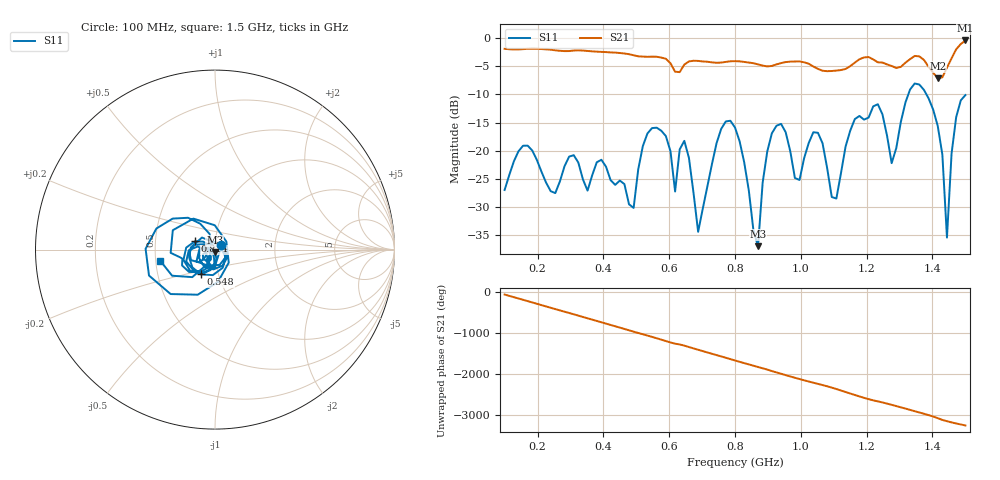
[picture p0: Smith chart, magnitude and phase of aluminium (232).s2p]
! NanoVNA-App
! Date: 2025-09-25 14:57:05
! Start: 100MHz Stop: 1,5GHz Points: 101
! S-Parameter data: F S11 S21 S12 S22
# Hz S RI R 50
!  Frequency  S11_Real  S11_Imag  S21_Real  S21_Imag  S12_Real  S12_Imag  S22_Real  S22_Imag
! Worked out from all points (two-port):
!   101 points, 100 MHz to 1.5 GHz, reference 50 ohm
!   highest |S21| = -0.43 dB at 1.5 GHz (marker M1); lowest = -7.2 dB at 1.416 GHz (marker M2)
!   |S21| within 3 dB of the highest: start of sweep to 572.6 MHz; 1.459 GHz to end of sweep (the widest 2 of 4)
!   lowest |S11| = -36.9 dB at 870 MHz (marker M3), VSWR 1.03, Z = 49.9 - j1.42 ohm
!   |S11| at or under -10 dB: start of sweep to 1.327 GHz; 1.382 GHz to end of sweep
!   S12 and S22 are empty: the file has one direction only
!   S11 on the Smith chart (normalised r, x): 100 MHz: 1.07, +0.06; 548 MHz: 0.82, -0.23; 814 MHz: 0.79, +0.07; 1.5 GHz: 0.53, -0.07
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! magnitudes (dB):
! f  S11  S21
! 100 MHz  -27.0  -1.9
! 338 MHz  -25.1  -2.2
! 492 MHz  -30.1  -3.1
! 548 MHz  -16.0  -3.3
! 576 MHz  -16.4  -3.5
! 618 MHz  -27.2  -6.0
! 646 MHz  -18.2  -4.7
! 688 MHz  -34.4  -4.1
! 800 MHz  -15.9  -4.1
! 814 MHz  -18.3  -4.1
! 870 MHz  -36.9  -4.7
! 912 MHz  -16.9  -5.0
! 996 MHz  -25.2  -4.2
! 1.038 GHz  -16.7  -5.1
! 1.094 GHz  -28.2  -5.9
! 1.22 GHz  -12.1  -3.8
! 1.276 GHz  -22.2  -5.0
! 1.346 GHz  -8.1  -3.2
! 1.416 GHz  -15.6  -7.2
! 1.444 GHz  -35.4  -5.3
! 1.472 GHz  -14.0  -2.0
! 1.5 GHz  -10.1  -0.4
